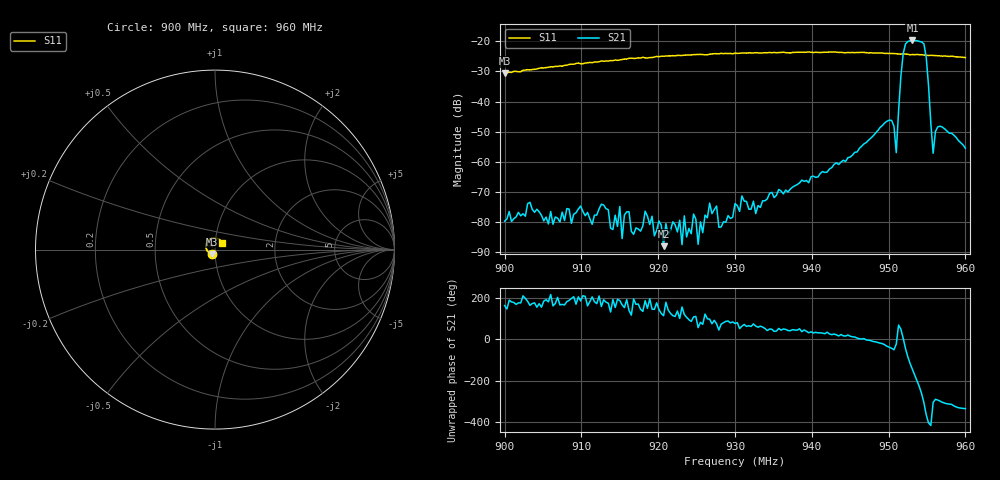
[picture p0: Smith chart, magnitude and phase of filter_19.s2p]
!File created by NanoVNA-F V2
# Hz S RI R 50
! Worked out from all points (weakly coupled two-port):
!   201 points, 900 MHz to 960 MHz, reference 50 ohm
!   highest |S21| = -19.71 dB at 953.1 MHz (marker M1); lowest = -88.0 dB at 920.7 MHz (marker M2)
!   lowest |S11| = -30.6 dB at 900 MHz (marker M3), VSWR 1.06, Z = 48.3 - j2.34 ohm
!   |S11| at or under -10 dB: start of sweep to end of sweep
!   S12 and S22 are empty: the file has one direction only
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9e8  -0.0166 -0.0242  -0.0001 2.8e-05  0 0  0 0
9.033e8  -0.0263 -0.0207  -0.000206 5.3e-05  0 0  0 0
9.057e8  -0.0332 -0.0165  -9.3e-05 -4e-06  0 0  0 0
9.102e8  -0.0419 -0.00707  -0.000126 -8e-05  0 0  0 0
9.201e8  -0.0508 0.0225  -8.6e-05 5.9e-05  0 0  0 0
9.207e8  -0.051 0.0246  -1.7e-05 3.6e-05  0 0  0 0
9.258e8  -0.0454 0.0397  1.9e-05 6.4e-05  0 0  0 0
9.267e8  -0.0448 0.0415  -3e-05 0.000204  0 0  0 0
9.288e8  -0.0424 0.0466  4e-06 9.9e-05  0 0  0 0
9.3e8  -0.0391 0.0505  4.4e-05 0.000198  0 0  0 0
9.327e8  -0.0331 0.0557  5.9e-05 0.000125  0 0  0 0
9.402e8  -0.0118 0.0639  0.000494 0.0003  0 0  0 0
9.501e8  0.0166 0.0609  0.0039 -0.00301  0 0  0 0
9.507e8  0.0169 0.0604  0.0025 -0.00299  0 0  0 0
9.51e8  0.0199 0.059  0.00131 -0.000539  0 0  0 0
9.519e8  0.0215 0.0581  0.0621 0.00641  0 0  0 0
9.531e8  0.0247 0.0551  -0.0845 -0.0595  0 0  0 0
9.546e8  0.0279 0.0522  0.0552 0.0719  0 0  0 0
9.549e8  0.0302 0.0504  0.0539 -0.00541  0 0  0 0
9.558e8  0.0305 0.0497  0.000805 0.00113  0 0  0 0
9.567e8  0.0318 0.0478  0.0019 0.00341  0 0  0 0
9.6e8  0.0377 0.0384  0.00153 0.000691  0 0  0 0
